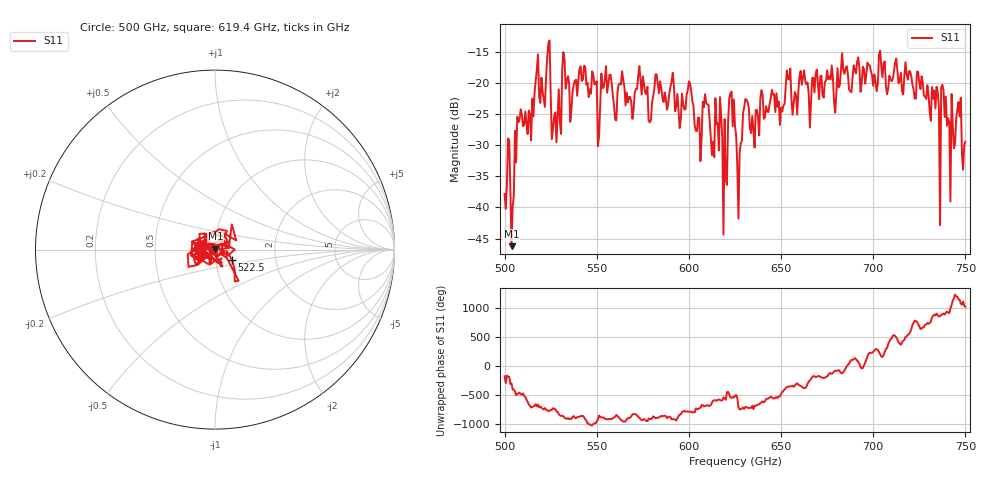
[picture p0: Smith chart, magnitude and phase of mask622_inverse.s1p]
!Created with skrf (http://scikit-rf.org).
# GHz S MA R 50.0
!freq magS11 angS11
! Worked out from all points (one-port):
!   401 points, 500 GHz to 750 GHz, reference 50 ohm
!   lowest |S11| = -46.2 dB at 503.8 GHz (marker M1), VSWR 1.01, Z = 50.2 + j0.435 ohm
!   |S11| at or under -10 dB: start of sweep to end of sweep
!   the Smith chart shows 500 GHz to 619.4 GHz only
!   S11 on the Smith chart (normalised r, x): 500 GHz: 0.97, -0.00; 522.5 GHz: 1.20, -0.14; 619.4 GHz: 0.91, +0.03
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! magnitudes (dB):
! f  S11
! 500 GHz  -37.9
! 503.8 GHz  -46.2
! 508.1 GHz  -25.9
! 522.5 GHz  -19.1
! 523.8 GHz  -13.6
! 526.9 GHz  -25.4
! 531.2 GHz  -17.8
! 562.5 GHz  -20.1
! 593.8 GHz  -21.8
! 600 GHz  -19.8
! 605.6 GHz  -25.6
! 609.4 GHz  -23.2
! 612.5 GHz  -31.6
! 616.9 GHz  -22.3
! 619.4 GHz  -25.8
! 623.1 GHz  -21.4
! 625 GHz  -27.0
! 627.5 GHz  -31.3
! 630.6 GHz  -22.6
! 634.4 GHz  -25.3
! 656.2 GHz  -25.1
! 687.5 GHz  -21.3
! 718.8 GHz  -19.5
! 735 GHz  -21.5
! 738.1 GHz  -21.1
! 743.1 GHz  -26.8
! 746.2 GHz  -23.1
! 750 GHz  -29.5
